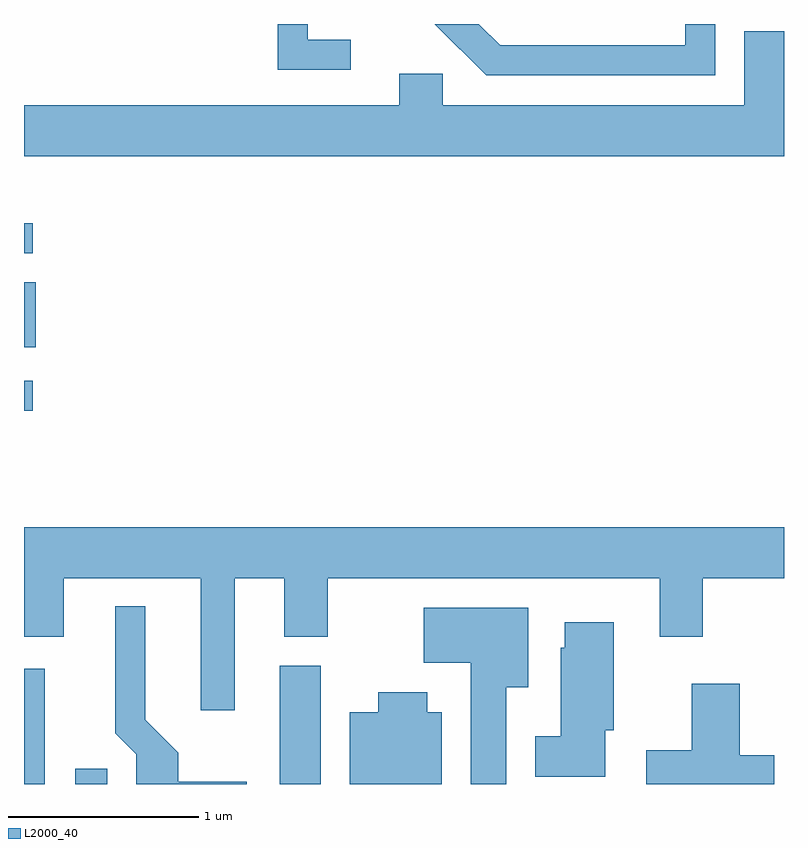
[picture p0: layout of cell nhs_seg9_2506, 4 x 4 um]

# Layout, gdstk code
import gdstk
lib = gdstk.Library(unit=1e-6, precision=1e-09)
def R(c, l, rs):  # rectangles x0, y0, x1, y1
    for r in rs: c.add(gdstk.rectangle(r[:2], r[2:], *l))
def P(c, l, *ps):  # polygons
    for p in ps: c.add(gdstk.Polygon(p, *l))
L2000_40 = (2000, 40)

nhs_seg9_2506 = lib.new_cell('nhs_seg9_2506')
R(nhs_seg9_2506, L2000_40, [(257.611,2068.432,257.719,2069.039), (257.881,2068.432,258.049,2068.512), (258.956,2068.432,259.174,2069.054), (257.611,2070.396,257.658,2070.554), (257.611,2070.731,257.674,2071.074), (257.611,2071.226,257.658,2071.384)])
P(nhs_seg9_2506, L2000_40, [(259.332,2072.349),(259.104,2072.349),(259.104,2072.432),(258.946,2072.432),(258.946,2072.191),(259.332,2072.191)],
  [(261.249,2072.432),(261.091,2072.432),(261.091,2072.319),(260.117,2072.319),(260.004,2072.432),(259.772,2072.432),(260.044,2072.161),(261.249,2072.161)],
  [(261.611,2072.394),(261.401,2072.394),(261.401,2072.004),(259.814,2072.004),(259.814,2072.169),(259.586,2072.169),(259.586,2072.004),(257.611,2072.004),(257.611,2071.736),(261.611,2071.736)],
  [(258.719,2069.516),(258.981,2069.516),(258.981,2069.206),(259.209,2069.206),(259.209,2069.516),(260.956,2069.516),(260.956,2069.206),(261.184,2069.206),(261.184,2069.516),(261.611,2069.516),(261.611,2069.784),(257.611,2069.784),(257.611,2069.206),(257.819,2069.206),(257.819,2069.516),(258.541,2069.516),(258.541,2068.821),(258.719,2068.821)],
  [(258.784,2068.444),(258.424,2068.444),(258.424,2068.597),(258.249,2068.771),(258.249,2069.367),(258.091,2069.367),(258.091,2068.699),(258.201,2068.588),(258.201,2068.432),(258.784,2068.432)],
  [(260.149,2068.941),(260.264,2068.941),(260.264,2069.359),(259.716,2069.359),(259.716,2069.071),(259.961,2069.071),(259.961,2068.432),(260.149,2068.432)],
  [(260.669,2068.716),(260.714,2068.716),(260.714,2069.284),(260.456,2069.284),(260.456,2069.149),(260.436,2069.149),(260.436,2068.684),(260.301,2068.684),(260.301,2068.471),(260.669,2068.471)],
  [(261.559,2068.584),(261.379,2068.584),(261.379,2068.959),(261.126,2068.959),(261.126,2068.609),(260.886,2068.609),(260.886,2068.432),(261.559,2068.432)],
  [(259.809,2068.809),(259.734,2068.809),(259.734,2068.914),(259.476,2068.914),(259.476,2068.809),(259.326,2068.809),(259.326,2068.432),(259.809,2068.432)])

lib.write_gds('nhs_seg9_2506.gds')
